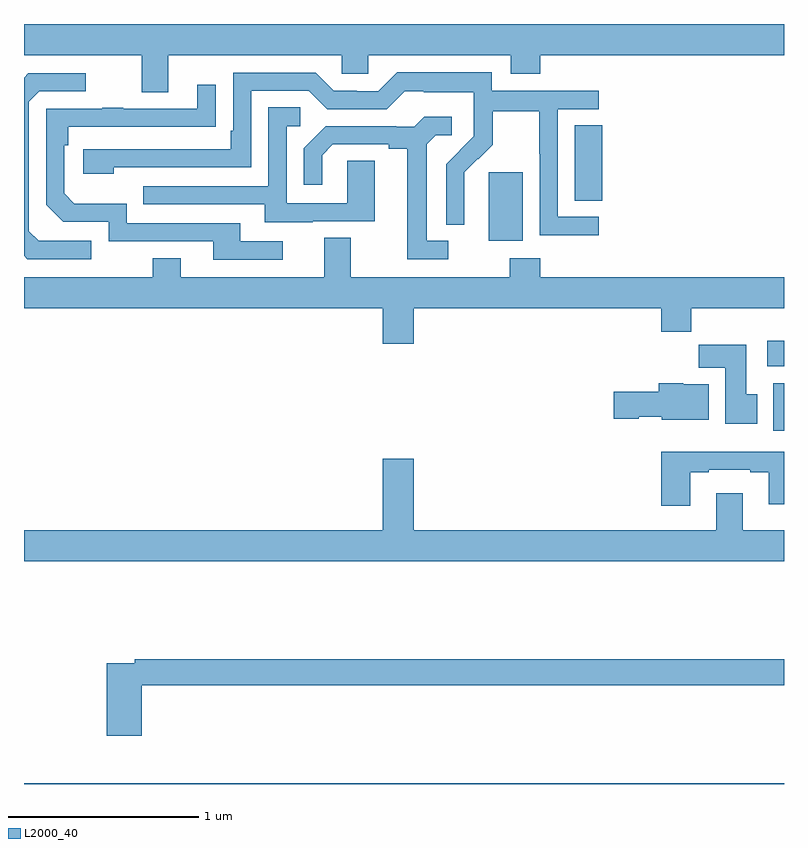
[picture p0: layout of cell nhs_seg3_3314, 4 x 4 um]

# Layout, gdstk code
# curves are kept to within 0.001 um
import gdstk
lib = gdstk.Library(unit=1e-6, precision=1e-09)
def R(c, l, rs):  # rectangles x0, y0, x1, y1
    for r in rs: c.add(gdstk.rectangle(r[:2], r[2:], *l))
def P(c, l, *ps):  # polygons
    for p in ps: c.add(gdstk.Polygon(p, *l))
L2000_40 = (2000, 40)

nhs_seg3_3314 = lib.new_cell('nhs_seg3_3314')
R(nhs_seg3_3314, L2000_40, [(283,710.4,287,710.404), (286.943,712.26,287,712.51), (286.911,712.598,287,712.732), (285.446,713.258,285.625,713.619), (285.899,713.47,286.043,713.867)])
P(nhs_seg3_3314, L2000_40, [(283.759,714.236),(284.673,714.236),(284.673,714.138),(284.811,714.138),(284.811,714.236),(285.563,714.236),(285.563,714.137),(285.716,714.137),(285.716,714.236),(287,714.236),(287,714.4),(283,714.4),(283,714.236),(283.619,714.236),(283.619,714.042),(283.759,714.042)],
  [(286.024,713.385),(285.81,713.385),(285.81,713.952),(286.024,713.952),(286.024,714.048),(285.462,714.048),(285.462,714.145),(284.965,714.145),(284.865,714.045),(284.75,714.045),(284.75,714.048),(284.631,714.048),(284.535,714.144),(284.1,714.144),(284.1,713.839),(284.087,713.839),(284.087,713.742),(283.311,713.742),(283.311,713.612),(283.472,713.612),(283.472,713.646),(284.196,713.646),(284.196,714.048),(284.499,714.048),(284.595,713.952),(284.91,713.952),(285.003,714.045),(285.103,714.045),(285.103,714.041),(285.366,714.041),(285.366,713.907),(285.368,713.907),(285.368,713.81),(285.222,713.662),(285.222,713.344),(285.318,713.344),(285.317,713.621),(285.387,713.691),(285.39,713.688),(285.467,713.765),(285.467,713.94),(285.712,713.94),(285.712,713.716),(285.714,713.716),(285.714,713.287),(286.024,713.287)],
  [(283.354,713.259),(283.077,713.259),(283.026,713.31),(283.026,713.991),(283.08,714.045),(283.324,714.045),(283.324,714.141),(283.023,714.141),(283,714.118),(283,713.18),(283.017,713.163),(283.354,713.163)],
  [(284.362,713.256),(284.137,713.256),(284.137,713.352),(283.542,713.352),(283.542,713.455),(283.265,713.455),(283.212,713.508),(283.212,713.762),(283.232,713.762),(283.232,713.859),(284.009,713.86),(284.009,714.079),(283.913,714.079),(283.913,713.955),(283.523,713.955),(283.523,713.96),(283.411,713.96),(283.411,713.955),(283.116,713.955),(283.116,713.448),(283.206,713.358),(283.446,713.358),(283.446,713.256),(283.997,713.256),(283.997,713.16),(284.362,713.16)],
  [(284.521,713.361),(284.845,713.361),(284.845,713.681),(284.7,713.681),(284.7,713.457),(284.382,713.457),(284.382,713.862),(284.455,713.862),(284.455,713.963),(284.286,713.963),(284.286,713.547),(283.627,713.547),(283.627,713.451),(284.267,713.451),(284.267,713.357),(284.521,713.357)],
  [(285.232,713.259),(285.121,713.259),(285.121,713.767),(285.168,713.814),(285.25,713.814),(285.25,713.911),(285.106,713.911),(285.054,713.859),(284.96,713.859),(284.96,713.862),(284.588,713.862),(284.472,713.746),(284.472,713.553),(284.569,713.553),(284.569,713.709),(284.626,713.766),(284.921,713.766),(284.921,713.744),(285.017,713.744),(285.017,713.163),(285.232,713.163)],
  [(285.052,712.904),(286.355,712.904),(286.355,712.78),(286.511,712.78),(286.511,712.904),(287,712.904),(287,713.068),(285.716,713.068),(285.716,713.167),(285.556,713.167),(285.556,713.068),(284.719,713.068),(284.719,713.276),(284.579,713.276),(284.579,713.068),(283.825,713.068),(283.825,713.167),(283.678,713.167),(283.678,713.068),(283,713.068),(283,712.904),(284.888,712.904),(284.888,712.716),(285.052,712.716)],
  [(286.858,712.452),(286.801,712.452),(286.801,712.711),(286.552,712.711),(286.552,712.592),(286.691,712.592),(286.691,712.296),(286.858,712.296)],
  [(286.603,712.504),(286.47,712.504),(286.47,712.51),(286.34,712.51),(286.34,712.464),(286.104,712.464),(286.104,712.322),(286.236,712.322),(286.236,712.334),(286.356,712.334),(286.356,712.316),(286.603,712.316)],
  [(286.507,712.041),(286.603,712.041),(286.603,712.053),(286.823,712.053),(286.823,712.041),(286.919,712.041),(286.919,711.872),(287,711.872),(287,712.15),(286.355,712.15),(286.355,711.864),(286.507,711.864)],
  [(287,711.736),(286.783,711.736),(286.783,711.931),(286.643,711.931),(286.643,711.736),(285.052,711.736),(285.052,712.111),(284.888,712.111),(284.888,711.736),(283,711.736),(283,711.572),(287,711.572)],
  [(283.619,710.92),(287,710.92),(287,711.056),(283.582,711.056),(283.582,711.036),(283.436,711.036),(283.436,710.655),(283.619,710.655)])

lib.write_gds('nhs_seg3_3314.gds')
